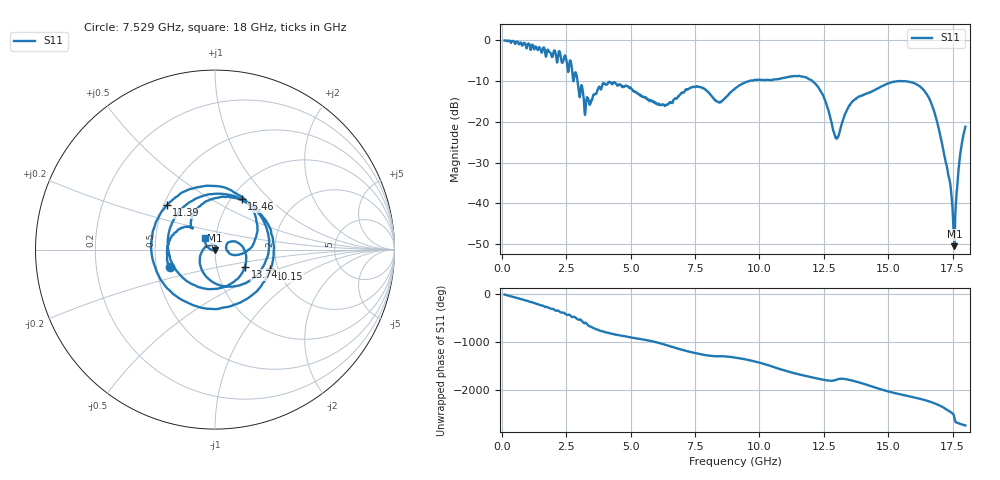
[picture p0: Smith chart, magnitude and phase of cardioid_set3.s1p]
!Keysight Technologies.N5222B.MY60213399.A.14.00.23
!Date: Monday. June 05. 2023 21:55:23
!Correction: S11(C  1-Port  )
!S1P File: Measurement: :
# Hz S  dB  R 50
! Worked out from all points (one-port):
!   1601 points, 100 MHz to 18 GHz, reference 50 ohm
!   lowest |S11| = -50.5 dB at 17.57 GHz (marker M1), VSWR 1.01, Z = 50.1 - j0.291 ohm
!   |S11| at or under -10 dB: 2.932 GHz to 9.601 GHz (6.668 GHz wide, 106 % of centre); 12.06 GHz to 15.38 GHz (3.323 GHz wide, 24.2 % of centre); 15.65 GHz to end of sweep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
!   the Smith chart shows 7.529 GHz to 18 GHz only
!   S11 on the Smith chart (normalised r, x): 7.529 GHz: 0.59, -0.12; 10.15 GHz: 1.82, -0.45; 11.39 GHz: 0.52, +0.30; 13.74 GHz: 1.37, -0.27; 15.46 GHz: 1.12, +0.70; 18 GHz: 0.88, +0.12
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1e8  -0.03 -14.9
6.37e8  -0.73 -97.0
1.118062e9  -2.30 -168.3
1.688625e9  -3.65 84.8
2.013062e9  -2.61 35.5
2.3375e9  -5.51 -30.9
2.896875e9  -8.58 -156.5
3.221312e9  -18.29 111.5
3.63525e9  -13.13 -16.0
4.575e9  -10.91 -147.4
5.78325e9  -14.76 95.1
6.8125e9  -14.08 -61.4
7.5285e9  -11.42 -158.6
9.05e9  -11.85 109.4
1.014638e10  -9.71 -19.6
1.064981e10  -9.57 -106.3
1.12875e10  -8.83 151.3
1.138819e10  -8.75 137.4
1.21825e10  -10.72 38.9
1.2988e10  -24.10 6.0
1.3525e10  -15.72 -0.6
1.373756e10  -14.31 -29.8
1.467731e10  -11.51 172.3
1.546044e10  -9.96 61.9
1.57625e10  -10.11 26.5
1.6747e10  -16.65 -114.7
1.757488e10  -50.50 -77.1
1.8e10  -21.18 131.2
